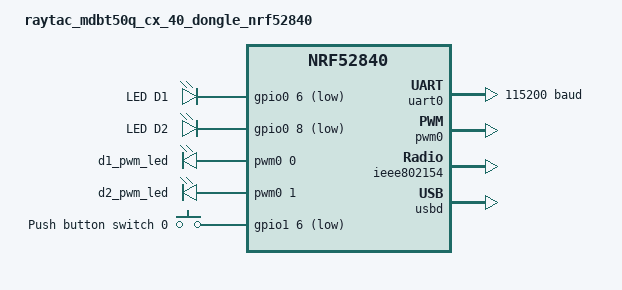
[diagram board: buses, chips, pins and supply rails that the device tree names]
/*
 * Copyright (c) 2018-2023 Nordic Semiconductor ASA
 * Copyright (c) 2017 Linaro Limited
 * Copyright (c) 2025 Raytac Corporation.
 * SPDX-License-Identifier: Apache-2.0
 */

/dts-v1/;
#include <nordic/nrf52840_qiaa.dtsi>
#include "raytac_mdbt50q_cx_40_dongle_nrf52840-pinctrl.dtsi"
#include <zephyr/dt-bindings/input/input-event-codes.h>

/ {
	model = "raytac_mdbt50q_cx_40_dongle_nrf52840";
	compatible = "raytac,raytac-mdbt50q-cx-40-dongle-nrf52840";

	chosen {
		zephyr,sram = &sram0;
		zephyr,flash = &flash0;
		zephyr,code-partition = &slot0_partition;
		zephyr,ieee802154 = &ieee802154;
	};

	leds {
		compatible = "gpio-leds";

		led0_d1: led_0 {
			gpios = <&gpio0 6 GPIO_ACTIVE_LOW>;
			label = "LED D1";
		};

		led1_d2: led_1 {
			gpios = <&gpio0 8 GPIO_ACTIVE_LOW>;
			label = "LED D2";
		};
	};

	pwmleds {
		compatible = "pwm-leds";

		d1_pwm_led: pwm_led_0 {
			pwms = <&pwm0 0 PWM_MSEC(20) PWM_POLARITY_INVERTED>;
		};

		d2_pwm_led: pwm_led_1 {
			pwms = <&pwm0 1 PWM_MSEC(20) PWM_POLARITY_INVERTED>;
		};
	};

	buttons {
		compatible = "gpio-keys";

		button0: button_0 {
			gpios = <&gpio1 6 (GPIO_PULL_UP | GPIO_ACTIVE_LOW)>;
			label = "Push button switch 0";
			zephyr,code = <INPUT_KEY_0>;
		};
	};

	/* These aliases are provided for compatibility with samples */
	aliases {
		sw0 = &button0;
		led0 = &led0_d1;
		led1 = &led1_d2;
		led0-green = &led0_d1;
		led1-red = &led1_d2;
		pwm-led0 = &d1_pwm_led;
		pwm-led1 = &d2_pwm_led;
		red-pwm-led = &d2_pwm_led;
		green-pwm-led = &d1_pwm_led;
		mcuboot-button0 = &button0;
		mcuboot-led0 = &led0_d1;
		watchdog0 = &wdt0;
	};
};

&reg0 {
	status = "disabled";
};

&reg1 {
	regulator-initial-mode = <0>;
};

&gpiote {
	status = "okay";
};

&uicr {
	nfct-pins-as-gpios;
	gpio-as-nreset;
};

&gpio0 {
	status = "okay";
};

&gpio1 {
	status = "okay";
};

&uart0 {
	compatible = "nordic,nrf-uarte";
	status = "okay";
	current-speed = <115200>;
	pinctrl-0 = <&uart0_default>;
	pinctrl-1 = <&uart0_sleep>;
	pinctrl-names = "default", "sleep";
};

&pwm0 {
	status = "okay";
	pinctrl-0 = <&pwm0_default>;
	pinctrl-1 = <&pwm0_sleep>;
	pinctrl-names = "default", "sleep";
};

&ieee802154 {
	status = "okay";
};

/* Include flash partition table.
 * Two partition tables are available:
 * fstab-stock		-compatible with Nordic nRF5 bootloader, default
 * fstab-debugger	-to use an external debugger, w/o the nRF5 bootloader
 */
#include "fstab-stock.dtsi"

zephyr_udc0: &usbd {
	compatible = "nordic,nrf-usbd";
	status = "okay";
};

#include <../boards/common/usb/cdc_acm_serial.dtsi>
